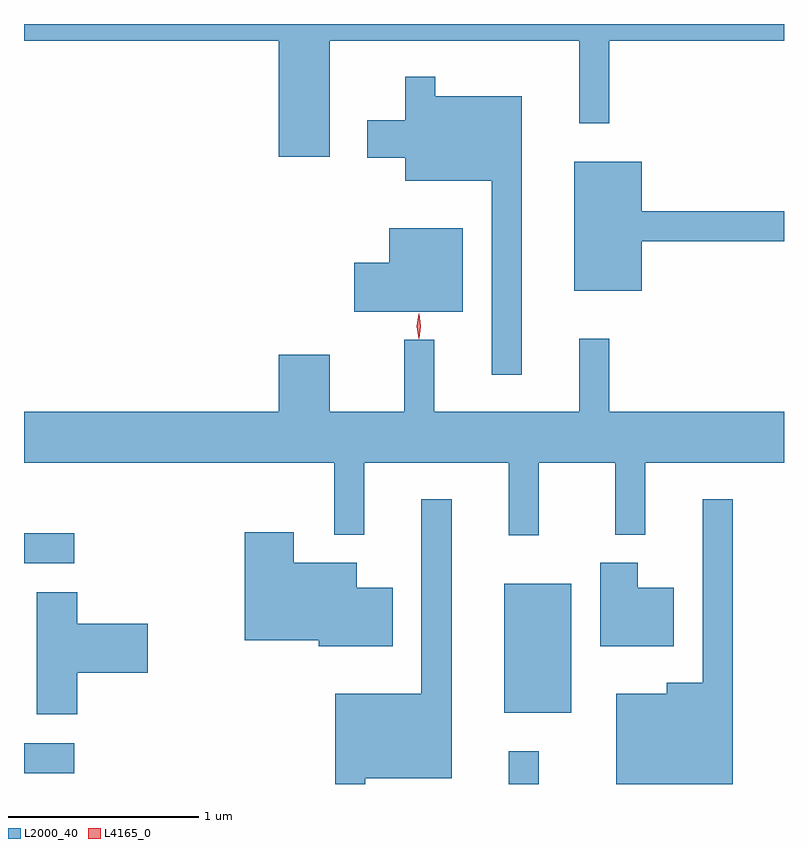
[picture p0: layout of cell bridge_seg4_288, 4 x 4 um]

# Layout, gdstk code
import gdstk
lib = gdstk.Library(unit=1e-6, precision=1e-09)
def R(c, l, rs):  # rectangles x0, y0, x1, y1
    for r in rs: c.add(gdstk.rectangle(r[:2], r[2:], *l))
def P(c, l, *ps):  # polygons
    for p in ps: c.add(gdstk.Polygon(p, *l))
L2000_40 = (2000, 40)
L4165_0 = (4165, 0)

bridge_seg4_288 = lib.new_cell('bridge_seg4_288')
R(bridge_seg4_288, L2000_40, [(416.086,1372.965,416.244,1373.138), (413.534,1373.021,413.798,1373.179), (416.061,1373.341,416.414,1374.019), (413.534,1374.126,413.798,1374.284)])
P(bridge_seg4_288, L2000_40, [(415.144,1376.876),(416.456,1376.876),(416.456,1376.443),(416.614,1376.443),(416.614,1376.876),(417.534,1376.876),(417.534,1376.965),(413.534,1376.965),(413.534,1376.876),(414.876,1376.876),(414.876,1376.266),(415.144,1376.266)],
  [(416.154,1376.584),(415.699,1376.584),(415.699,1376.688),(415.541,1376.688),(415.541,1376.459),(415.341,1376.459),(415.341,1376.261),(415.541,1376.261),(415.541,1376.141),(415.996,1376.141),(415.996,1375.118),(416.154,1375.118)],
  [(416.784,1375.821),(417.534,1375.821),(417.534,1375.979),(416.784,1375.979),(416.784,1376.239),(416.431,1376.239),(416.431,1375.561),(416.784,1375.561)],
  [(415.844,1375.889),(415.456,1375.889),(415.456,1375.709),(415.271,1375.709),(415.271,1375.451),(415.844,1375.451)],
  [(416.244,1374.656),(416.646,1374.656),(416.646,1374.278),(416.804,1374.278),(416.804,1374.656),(417.534,1374.656),(417.534,1374.924),(416.614,1374.924),(416.614,1375.308),(416.456,1375.308),(416.456,1374.924),(415.694,1374.924),(415.694,1375.303),(415.536,1375.303),(415.536,1374.924),(415.144,1374.924),(415.144,1375.224),(414.876,1375.224),(414.876,1374.924),(413.534,1374.924),(413.534,1374.656),(415.166,1374.656),(415.166,1374.278),(415.324,1374.278),(415.324,1374.656),(416.086,1374.656),(416.086,1374.273),(416.244,1374.273)],
  [(415.329,1372.996),(415.784,1372.996),(415.784,1374.463),(415.626,1374.463),(415.626,1373.439),(415.171,1373.439),(415.171,1372.965),(415.329,1372.965)],
  [(417.264,1374.463),(417.106,1374.463),(417.106,1373.499),(416.916,1373.499),(416.916,1373.439),(416.651,1373.439),(416.651,1372.965),(417.264,1372.965)],
  [(415.474,1373.999),(415.284,1373.999),(415.284,1374.129),(414.954,1374.129),(414.954,1374.289),(414.696,1374.289),(414.696,1373.721),(415.086,1373.721),(415.086,1373.691),(415.474,1373.691)],
  [(416.954,1373.999),(416.764,1373.999),(416.764,1374.129),(416.566,1374.129),(416.566,1373.691),(416.954,1373.691)],
  [(413.814,1373.551),(414.184,1373.551),(414.184,1373.809),(413.814,1373.809),(413.814,1373.974),(413.601,1373.974),(413.601,1373.331),(413.814,1373.331)])
P(bridge_seg4_288, L4165_0, [(415.612,1375.309),(415.612,1375.309),(415.602,1375.374),(415.612,1375.439),(415.612,1375.44),(415.613,1375.439),(415.622,1375.374),(415.613,1375.309)])

lib.write_gds('bridge_seg4_288.gds')
